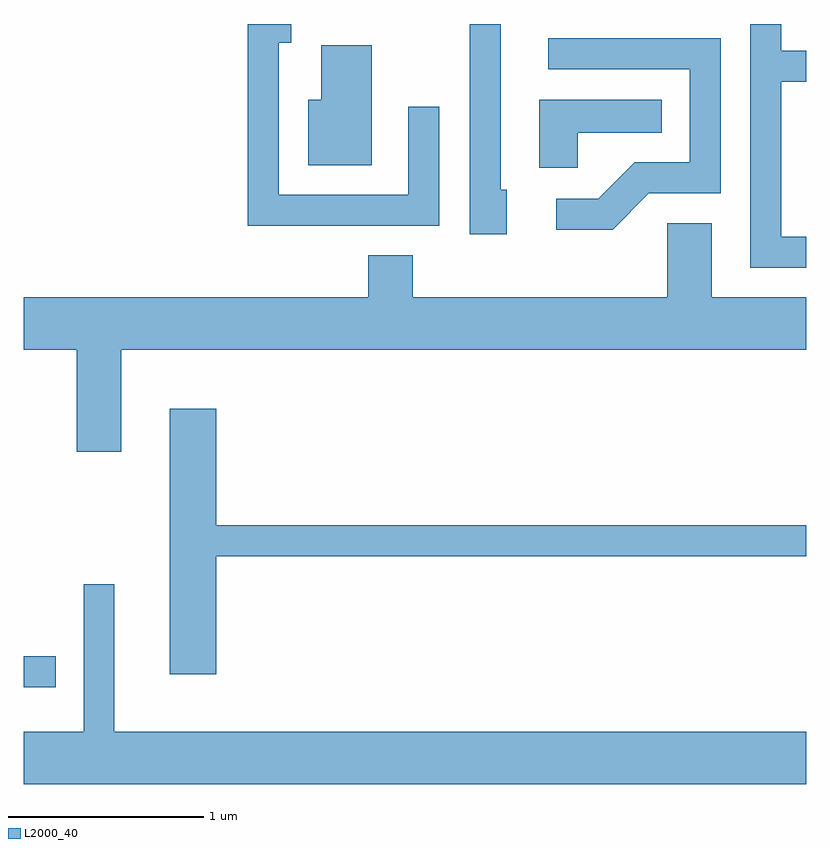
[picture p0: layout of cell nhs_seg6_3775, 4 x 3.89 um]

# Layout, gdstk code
import gdstk
lib = gdstk.Library(unit=1e-6, precision=1e-09)
def R(c, l, rs):  # rectangles x0, y0, x1, y1
    for r in rs: c.add(gdstk.rectangle(r[:2], r[2:], *l))
def P(c, l, *ps):  # polygons
    for p in ps: c.add(gdstk.Polygon(p, *l))
L2000_40 = (2000, 40)

nhs_seg6_3775 = lib.new_cell('nhs_seg6_3775')
R(nhs_seg6_3775, L2000_40, [(299.611,1532.771,299.773,1532.929)])
P(nhs_seg6_3775, L2000_40, [(301.734,1535.738),(301.576,1535.738),(301.576,1535.289),(300.914,1535.289),(300.914,1536.066),(300.979,1536.066),(300.979,1536.162),(300.756,1536.162),(300.756,1535.131),(301.734,1535.131)],
  [(302.079,1535.314),(302.049,1535.314),(302.049,1536.162),(301.891,1536.162),(301.891,1535.086),(302.079,1535.086)],
  [(303.611,1535.074),(303.484,1535.074),(303.484,1535.866),(303.611,1535.866),(303.611,1536.024),(303.484,1536.024),(303.484,1536.162),(303.326,1536.162),(303.326,1534.916),(303.611,1534.916)],
  [(302.807,1535.296),(303.174,1535.296),(303.174,1536.089),(302.293,1536.089),(302.293,1535.931),(303.016,1535.931),(303.016,1535.454),(302.734,1535.454),(302.549,1535.269),(302.333,1535.269),(302.333,1535.111),(302.622,1535.111)],
  [(301.389,1536.054),(301.131,1536.054),(301.131,1535.774),(301.066,1535.774),(301.066,1535.441),(301.389,1535.441)],
  [(302.444,1535.606),(302.873,1535.606),(302.873,1535.774),(302.246,1535.774),(302.246,1535.426),(302.444,1535.426)],
  [(300.109,1534.496),(303.611,1534.496),(303.611,1534.764),(303.129,1534.764),(303.129,1535.144),(302.901,1535.144),(302.901,1534.764),(301.599,1534.764),(301.599,1534.979),(301.371,1534.979),(301.371,1534.764),(299.611,1534.764),(299.611,1534.496),(299.881,1534.496),(299.881,1533.976),(300.109,1533.976)],
  [(300.594,1533.441),(303.611,1533.441),(303.611,1533.599),(300.594,1533.599),(300.594,1534.194),(300.356,1534.194),(300.356,1532.836),(300.594,1532.836)],
  [(303.611,1532.544),(300.074,1532.544),(300.074,1533.298),(299.916,1533.298),(299.916,1532.544),(299.611,1532.544),(299.611,1532.276),(303.611,1532.276)])

lib.write_gds('nhs_seg6_3775.gds')
